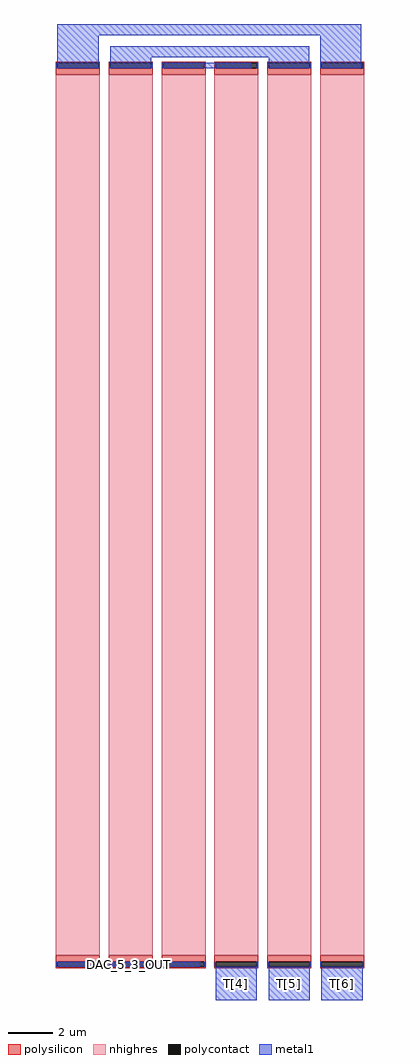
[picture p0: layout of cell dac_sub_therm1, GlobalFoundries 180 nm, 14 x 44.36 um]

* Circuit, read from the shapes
.subckt dac_sub_therm1 T[4] T[5] T[6] DAC_5_3_OUT
XR1 n1 DAC_5_3_OUT VSUBS ppolyf_u_1k r_width=2u r_length=40u
XR2 n2 DAC_5_3_OUT VSUBS ppolyf_u_1k r_width=2u r_length=40u
XR3 n3 DAC_5_3_OUT VSUBS ppolyf_u_1k r_width=2u r_length=40u
XR4 n3 T[4] VSUBS ppolyf_u_1k r_width=2u r_length=40u
XR5 n2 T[5] VSUBS ppolyf_u_1k r_width=2u r_length=40u
XR6 n1 T[6] VSUBS ppolyf_u_1k r_width=2u r_length=40u
.ends

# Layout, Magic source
magic
tech gf180mcuD
magscale 1 10
<< metal1 >>
rect 189 8661 2950 8761
rect 189 8361 563 8661
rect 669 8461 2480 8561
rect 669 8361 1043 8461
rect 1149 8361 1949 8407
rect 2110 8360 2480 8461
rect 2580 8360 2950 8661
rect 189 189 1489 235
rect 1629 -111 2003 189
rect 2109 -111 2483 189
rect 2589 -111 2963 189
use ppolyf_u_1k_932AWZ  ppolyf_u_1k_932AWZ_0
transform 1 0 1576 0 1 4298
box -1400 -4122 1400 4122
<< labels >>
flabel metal1 1629 -111 2003 189 0 FreeSans 1600 0 0 0 T[4]
port 0 nsew
flabel metal1 2109 -111 2483 189 0 FreeSans 1600 0 0 0 T[5]
port 1 nsew
flabel metal1 2589 -111 2963 189 0 FreeSans 1600 0 0 0 T[6]
port 2 nsew
flabel metal1 189 189 1489 235 0 FreeSans 800 0 0 0 DAC_5_3_OUT
port 3 nsew
<< end >>

# cell ppolyf_u_1k_932AWZ: kit device ppolyf_u_1k, w 2 l 40 m 1 nx 6 wmin 1.000 lmin 1.000 class resistor rho 1000 val 20.0k dummy 0 dw 0.0 term 0.0 sterm 0.0 caplen 0.4 snake 0 glc 0 grc 0 gtc 0 gbc 0 roverlap 0 endcov 100 full_metal 0 compatible {ppolyf_u_1k ppolyf_u_1k_6p0}
